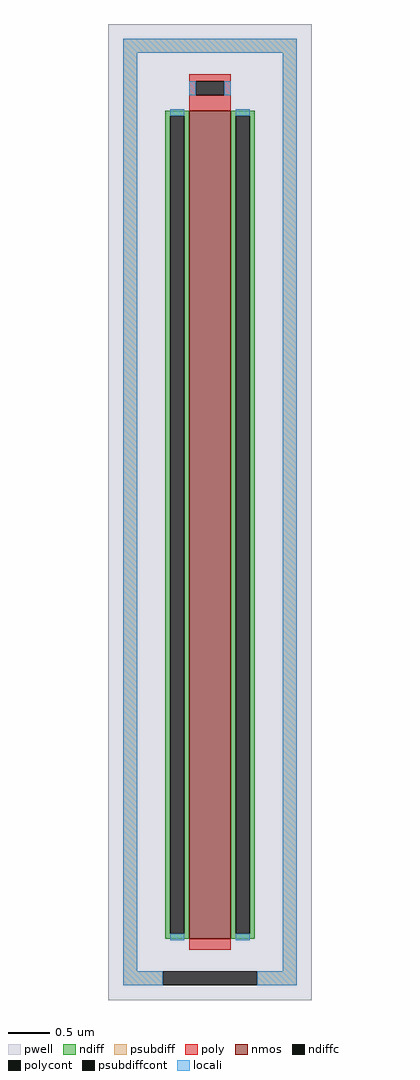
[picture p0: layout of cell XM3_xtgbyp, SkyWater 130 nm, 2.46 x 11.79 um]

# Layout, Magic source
magic
tech sky130A
magscale 1 2
<< pwell >>
rect -246 -1179 246 1179
<< nmos >>
rect -50 -1031 50 969
<< ndiff >>
rect -108 957 -50 969
rect -108 -1019 -96 957
rect -62 -1019 -50 957
rect -108 -1031 -50 -1019
rect 50 957 108 969
rect 50 -1019 62 957
rect 96 -1019 108 957
rect 50 -1031 108 -1019
<< ndiffc >>
rect -96 -1019 -62 957
rect 62 -1019 96 957
<< psubdiff >>
rect -210 1109 210 1143
rect -210 -1109 -176 1109
rect 176 -1109 210 1109
rect -210 -1143 -114 -1109
rect 114 -1143 210 -1109
<< psubdiffcont >>
rect -114 -1143 114 -1109
<< poly >>
rect -50 1041 50 1057
rect -50 1007 -34 1041
rect 34 1007 50 1041
rect -50 969 50 1007
rect -50 -1057 50 -1031
<< polycont >>
rect -34 1007 34 1041
<< locali >>
rect -210 1109 210 1143
rect -210 -1109 -176 1109
rect -50 1007 -34 1041
rect 34 1007 50 1041
rect -96 957 -62 973
rect -96 -1035 -62 -1019
rect 62 957 96 973
rect 62 -1035 96 -1019
rect 176 -1109 210 1109
rect -210 -1143 -114 -1109
rect 114 -1143 210 -1109
<< properties >>
string FIXED_BBOX -193 -1126 193 1126
<< end >>
